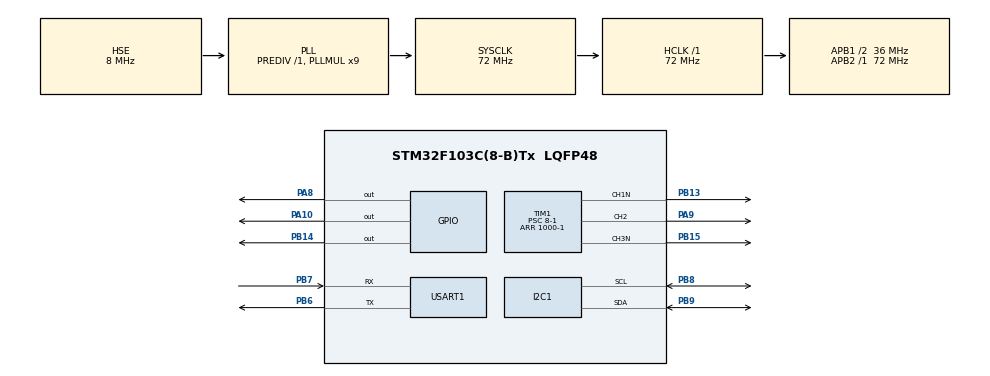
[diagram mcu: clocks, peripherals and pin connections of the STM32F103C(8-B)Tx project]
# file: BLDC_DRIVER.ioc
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Mcu.Family=STM32F1
Mcu.Name=STM32F103C(8-B)Tx
Mcu.Package=LQFP48
NVIC.PriorityGroup=NVIC_PRIORITYGROUP_4
NVIC.TIM2_IRQn=true\:0\:0\:false\:false\:true\:true\:true\:true
NVIC.USART1_IRQn=true\:1\:0\:true\:false\:true\:true\:true\:true
PA0-WKUP.Mode=SYS_WakeUp0
PA0-WKUP.Signal=SYS_WKUP
PA10.Signal=GPIO_Output
PA13.Mode=Serial_Wire
PA13.Signal=SYS_JTMS-SWDIO
PA14.Mode=Serial_Wire
PA14.Signal=SYS_JTCK-SWCLK
PA8.Signal=GPIO_Output
PA9.Signal=S_TIM1_CH2
PB13.Mode=PWM Generation1 CH1N
PB13.Signal=TIM1_CH1N
PB14.Signal=GPIO_Output
PB15.Mode=PWM Generation3 CH3N
PB15.Signal=TIM1_CH3N
PB6.Mode=Asynchronous
PB6.Signal=USART1_TX
PB7.Mode=Asynchronous
PB7.Signal=USART1_RX
PB8.Mode=I2C
PB8.Signal=I2C1_SCL
PB9.Mode=I2C
PB9.Signal=I2C1_SDA
PD0-OSC_IN.Mode=HSE-External-Oscillator
PD0-OSC_IN.Signal=RCC_OSC_IN
PD1-OSC_OUT.Mode=HSE-External-Oscillator
PD1-OSC_OUT.Signal=RCC_OSC_OUT
ProjectManager.HeapSize=0x200
ProjectManager.StackSize=0x400
ProjectManager.TargetToolchain=STM32CubeIDE
RCC.AHBFreq_Value=72000000
RCC.APB1CLKDivider=RCC_HCLK_DIV2
RCC.APB1Freq_Value=36000000
RCC.APB1TimFreq_Value=72000000
RCC.APB2Freq_Value=72000000
RCC.APB2TimFreq_Value=72000000
RCC.HCLKFreq_Value=72000000
RCC.PLLMUL=RCC_PLL_MUL9
RCC.PLLSourceVirtual=RCC_PLLSOURCE_HSE
RCC.SYSCLKFreq_VALUE=72000000
RCC.SYSCLKSource=RCC_SYSCLKSOURCE_PLLCLK
RCC.USBFreq_Value=72000000
SH.S_TIM1_CH2.0=TIM1_CH2,PWM Generation2 CH2
TIM1.Channel-PWM\ Generation1\ CH1N=TIM_CHANNEL_1
TIM1.Channel-PWM\ Generation2\ CH2=TIM_CHANNEL_2
TIM1.Channel-PWM\ Generation3\ CH3N=TIM_CHANNEL_3
TIM1.Period=1000-1
TIM1.Prescaler=8-1
TIM1.Pulse-PWM\ Generation1\ CH1N=500
TIM1.Pulse-PWM\ Generation2\ CH2=400
TIM1.Pulse-PWM\ Generation3\ CH3N=250
TIM2.Period=1000-1
TIM2.Prescaler=8-1
USART1.VirtualMode=VM_ASYNC
VP_TIM2_VS_ClockSourceINT.Mode=Internal
board=custom

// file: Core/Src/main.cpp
/* USER CODE BEGIN Header */
/**
  ******************************************************************************
  * @file           : main.c
  * @brief          : Main program body
  ******************************************************************************
  * @attention
  *
  * Copyright (c) 2022 STMicroelectronics.
  * All rights reserved.
  *
  * This software is licensed under terms that can be found in the LICENSE file
  * in the root directory of this software component.
  * If no LICENSE file comes with this software, it is provided AS-IS.
  *
  ******************************************************************************
  */
/* USER CODE END Header */
#include "main.h"

/* USER CODE BEGIN Includes */
#include "string.h"
#include "stdio.h"
#include "magnetic_sensor.hpp"
#include "bldc_driver.hpp"
/* USER CODE END Includes */

/* USER CODE BEGIN PTD */

// default pwm parameters
#define _PWM_RESOLUTION 7 // 7bit
#define _PWM_RANGE 999//1000 - 1 = 999
float target;
int count = 0;
int times = 0;
uint8_t 	AS5600_ADDR = 0x36 << 1;
uint8_t		RAWANG_H	= 0x0C;
uint8_t 	RAWANG_L	= 0x0D;
uint8_t 	ANGLE_H		= 0x0E;
uint8_t 	ANGLE_L		= 0x0F;
uint8_t     STATUS		= 0x0B;
uint8_t flag = 1;
uint8_t buf[12];
uint8_t recv;
uint8_t DataRead[2];
/* USER CODE END PTD */

I2C_HandleTypeDef hi2c1;

TIM_HandleTypeDef htim1;
TIM_HandleTypeDef htim2;

UART_HandleTypeDef huart1;

/* USER CODE BEGIN PV */
static const uint8_t SLAVE_ADDR = 0x36 << 1;
static const uint8_t DATA1_ADDR = 0x0E;
static const uint8_t DATA2_ADDR = 0x0F;
/* USER CODE END PV */

void SystemClock_Config(void);
static void MX_GPIO_Init(void);
static void MX_I2C1_Init(void);
static void MX_USART1_UART_Init(void);
static void MX_TIM1_Init(void);
static void MX_TIM2_Init(void);

/* USER CODE BEGIN 0 */

AS5600 as5600(hi2c1, huart1);
void HAL_TIM_PeriodElapsedCallback(TIM_HandleTypeDef *htim)
{
  if(htim->Instance == TIM2)
  {
	  //6 STEP: Discrete Mode:
//	  if(count == 6) count = 0;
//	  static int trap_120_map[6][3] = {
//		{0,1,-1},{-1,1,0},{-1,0,1},{0,-1,1},{1,-1,0},{1,0,-1} // each is 60 degrees with values for 3 phases of 1=positive -1=negative 0=high-z
//	  };
//	  float Ua, Ub, Uc;
//	  Ua = 0.5 + trap_120_map[count][0] * 0.5;
//	  Ub = 0.5 + trap_120_map[count][1] * 0.5;
//	  Uc = 0.5 + trap_120_map[count][2] * 0.5;
//	  _writeDutyCyclePWM(Ua, Ub, Uc);
//	  count++;

	  // SINE PWM:

//	  if ((recv = HAL_I2C_Mem_Read(&hi2c1,(AS5600_ADDR),RAWANG_H,1,&DataRead[0],1,100)) == HAL_OK)
//	  {
//		  if ((recv = HAL_I2C_Mem_Read(&hi2c1,(AS5600_ADDR),RAWANG_L,1,&DataRead[1],1,100)) == HAL_OK){
//			  int Data = (DataRead[1]|(DataRead[0] << 8));
//			  if(Data - 1900 > 0){
//				  if(times<192*100 && flag == 1){
//					  float _ca, _sa, Ualpha, Ubeta;
//					  float Ua, Ub, Uc;
//					  if(count == 24) count = 0;
//
//					  float angle_el = _PI_96*count;
//					  _ca = _cos(angle_el);
//					  _sa = _sin(angle_el);
//					  Ualpha =  - _sa*0.5;
//					  Ubeta  =    _ca*0.5;
//
//					  Ua = Ualpha/2 + 0.5;
//					  Ub = (-0.5 * Ualpha  + _SQRT3_2 * Ubeta)/2+0.5;
//					  Uc = (-0.5 * Ualpha - _SQRT3_2 * Ubeta)/2+0.5;
//					  _writeDutyCyclePWM(Ua, Ub, Uc);
//					  count++;
//					  times++;
//				  }
//			  }
//		  }
//	  }

//	  uint8_t buf[12];
//	  uint8_t DataRead = 0;
//	  HAL_I2C_Mem_Read(&hi2c1,(AS5600_ADDR),STATUS,1,&DataRead,1,100);
//	  sprintf((char*)buf,"%x\r\n",(DataRead & 0x38));
//	  if (DataRead == 0x20)
//	  {
//		  strcpy((char*)buf, "Magnet!\r\n");
//		  HAL_UART_Transmit(&huart1, buf, strlen((char*)buf), HAL_MAX_DELAY);
//		  HAL_Delay(100);
//	  }
//	  else{
//		  strcpy((char*)buf, "NO Magnet!\r\n");
//		  HAL_UART_Transmit(&huart1, buf, 2, HAL_MAX_DELAY);
//		  HAL_Delay(100);
//	  }

//	  as5600.GetStatus();
//	  as5600.GetAngle();
//	  HAL_Delay(100);
//	  float _ca, _sa, Ualpha, Ubeta;
//	  float Ua, Ub, Uc;
//	  if(count == 720) count = 0;
//
//	  float angle_el = _PI_360*count;
//	  _ca = _cos(angle_el);
//	  _sa = _sin(angle_el);
//	  Ualpha =  - _sa*0.5;
//	  Ubeta  =    _ca*0.5;
//
//	  Ua = Ualpha/2 + 0.5;
//	  Ub = (-0.5 * Ualpha  + _SQRT3_2 * Ubeta)/2+0.5;
//	  Uc = (-0.5 * Ualpha - _SQRT3_2 * Ubeta)/2+0.5;
//	  _writeDutyCyclePWM(Ua, Ub, Uc);
//	  count++;
  }
}

void _writeDutyCyclePWM(float dc_a, float dc_b, float dc_c)
{
	 TIM1->CCR1 = (int)(dc_a * _PWM_RANGE);
	 TIM1->CCR3 = (int)(dc_b * _PWM_RANGE);
	 TIM1->CCR2 = (int)(dc_c * _PWM_RANGE);
}
/* USER CODE END 0 */

int main(void)
{

  /* MCU Configuration--------------------------------------------------------*/

  /* Reset of all peripherals, Initializes the Flash interface and the Systick. */
  HAL_Init();

  /* USER CODE BEGIN Init */
  AS5600 as5600(hi2c1, huart1);
  Motor_FOC motor(12);
  /* USER CODE END Init */

  /* Configure the system clock */
  SystemClock_Config();

  /* Initialize all configured peripherals */
  MX_GPIO_Init();
  MX_I2C1_Init();
  MX_USART1_UART_Init();
  MX_TIM1_Init();
  MX_TIM2_Init();
  /* USER CODE BEGIN 2 */
//  HAL_TIM_Base_Start_IT(&htim2);

//  HAL_TIMEx_PWMN_Start(&htim1, TIM_CHANNEL_1);
//  HAL_TIM_PWM_Start(&htim1, 	TIM_CHANNEL_2);
//  HAL_TIMEx_PWMN_Start(&htim1, TIM_CHANNEL_3);

  HAL_GPIO_WritePin(GPIOB, GPIO_PIN_14, GPIO_PIN_SET);
  HAL_GPIO_WritePin(GPIOA, GPIO_PIN_8, GPIO_PIN_SET);
  HAL_GPIO_WritePin(GPIOA, GPIO_PIN_10, GPIO_PIN_SET);
  /* USER CODE END 2 */

  /* Infinite loop */
  /* USER CODE BEGIN WHILE */
  while (1)
  {

	  as5600.GetStatus();
	  as5600.GetAngle();
	  HAL_Delay(100);

//	  motor.move(target);

//	  motor.loopFOC();
//	  int Data = DataRead;
//	strcpy((char*)buf, "Magnet!\r\n");
//	HAL_UART_Transmit(&huart1, buf, strlen((char*)buf), HAL_MAX_DELAY);
//	HAL_Delay(100);
    /* USER CODE END WHILE */

  }
}

void SystemClock_Config(void)
{
  RCC_OscInitTypeDef RCC_OscInitStruct = {0};
  RCC_ClkInitTypeDef RCC_ClkInitStruct = {0};

  /** Initializes the RCC Oscillators according to the specified parameters
  * in the RCC_OscInitTypeDef structure.
  */
  RCC_OscInitStruct.OscillatorType = RCC_OSCILLATORTYPE_HSE;
  RCC_OscInitStruct.HSEState = RCC_HSE_ON;
  RCC_OscInitStruct.HSEPredivValue = RCC_HSE_PREDIV_DIV1;
  RCC_OscInitStruct.HSIState = RCC_HSI_ON;
  RCC_OscInitStruct.PLL.PLLState = RCC_PLL_ON;
  RCC_OscInitStruct.PLL.PLLSource = RCC_PLLSOURCE_HSE;
  RCC_OscInitStruct.PLL.PLLMUL = RCC_PLL_MUL9;
  if (HAL_RCC_OscConfig(&RCC_OscInitStruct) != HAL_OK)
  {
    Error_Handler();
  }

  /** Initializes the CPU, AHB and APB buses clocks
  */
  RCC_ClkInitStruct.ClockType = RCC_CLOCKTYPE_HCLK|RCC_CLOCKTYPE_SYSCLK
                              |RCC_CLOCKTYPE_PCLK1|RCC_CLOCKTYPE_PCLK2;
  RCC_ClkInitStruct.SYSCLKSource = RCC_SYSCLKSOURCE_PLLCLK;
  RCC_ClkInitStruct.AHBCLKDivider = RCC_SYSCLK_DIV1;
  RCC_ClkInitStruct.APB1CLKDivider = RCC_HCLK_DIV2;
  RCC_ClkInitStruct.APB2CLKDivider = RCC_HCLK_DIV1;

  if (HAL_RCC_ClockConfig(&RCC_ClkInitStruct, FLASH_LATENCY_2) != HAL_OK)
  {
    Error_Handler();
  }
}

static void MX_I2C1_Init(void)
{

  hi2c1.Instance = I2C1;
  hi2c1.Init.ClockSpeed = 100000;
  hi2c1.Init.DutyCycle = I2C_DUTYCYCLE_2;
  hi2c1.Init.OwnAddress1 = 0;
  hi2c1.Init.AddressingMode = I2C_ADDRESSINGMODE_7BIT;
  hi2c1.Init.DualAddressMode = I2C_DUALADDRESS_DISABLE;
  hi2c1.Init.OwnAddress2 = 0;
  hi2c1.Init.GeneralCallMode = I2C_GENERALCALL_DISABLE;
  hi2c1.Init.NoStretchMode = I2C_NOSTRETCH_DISABLE;
  if (HAL_I2C_Init(&hi2c1) != HAL_OK)
  {
    Error_Handler();
  }

}

static void MX_TIM1_Init(void)
{

  TIM_MasterConfigTypeDef sMasterConfig = {0};
  TIM_OC_InitTypeDef sConfigOC = {0};
  TIM_BreakDeadTimeConfigTypeDef sBreakDeadTimeConfig = {0};

  htim1.Instance = TIM1;
  htim1.Init.Prescaler = 8-1;
  htim1.Init.CounterMode = TIM_COUNTERMODE_UP;
  htim1.Init.Period = 1000-1;
  htim1.Init.ClockDivision = TIM_CLOCKDIVISION_DIV1;
  htim1.Init.RepetitionCounter = 0;
  htim1.Init.AutoReloadPreload = TIM_AUTORELOAD_PRELOAD_DISABLE;
  if (HAL_TIM_PWM_Init(&htim1) != HAL_OK)
  {
    Error_Handler();
  }
  sMasterConfig.MasterOutputTrigger = TIM_TRGO_RESET;
  sMasterConfig.MasterSlaveMode = TIM_MASTERSLAVEMODE_DISABLE;
  if (HAL_TIMEx_MasterConfigSynchronization(&htim1, &sMasterConfig) != HAL_OK)
  {
    Error_Handler();
  }
  sConfigOC.OCMode = TIM_OCMODE_PWM1;
  sConfigOC.Pulse = 500;
  sConfigOC.OCPolarity = TIM_OCPOLARITY_HIGH;
  sConfigOC.OCNPolarity = TIM_OCNPOLARITY_HIGH;
  sConfigOC.OCFastMode = TIM_OCFAST_DISABLE;
  sConfigOC.OCIdleState = TIM_OCIDLESTATE_RESET;
  sConfigOC.OCNIdleState = TIM_OCNIDLESTATE_RESET;
  if (HAL_TIM_PWM_ConfigChannel(&htim1, &sConfigOC, TIM_CHANNEL_1) != HAL_OK)
  {
    Error_Handler();
  }
  sConfigOC.Pulse = 400;
  if (HAL_TIM_PWM_ConfigChannel(&htim1, &sConfigOC, TIM_CHANNEL_2) != HAL_OK)
  {
    Error_Handler();
  }
  sConfigOC.Pulse = 250;
  if (HAL_TIM_PWM_ConfigChannel(&htim1, &sConfigOC, TIM_CHANNEL_3) != HAL_OK)
  {
    Error_Handler();
  }
  sBreakDeadTimeConfig.OffStateRunMode = TIM_OSSR_DISABLE;
  sBreakDeadTimeConfig.OffStateIDLEMode = TIM_OSSI_DISABLE;
  sBreakDeadTimeConfig.LockLevel = TIM_LOCKLEVEL_OFF;
  sBreakDeadTimeConfig.DeadTime = 0;
  sBreakDeadTimeConfig.BreakState = TIM_BREAK_DISABLE;
  sBreakDeadTimeConfig.BreakPolarity = TIM_BREAKPOLARITY_HIGH;
  sBreakDeadTimeConfig.AutomaticOutput = TIM_AUTOMATICOUTPUT_DISABLE;
  if (HAL_TIMEx_ConfigBreakDeadTime(&htim1, &sBreakDeadTimeConfig) != HAL_OK)
  {
    Error_Handler();
  }
  HAL_TIM_MspPostInit(&htim1);

}

static void MX_TIM2_Init(void)
{

  TIM_ClockConfigTypeDef sClockSourceConfig = {0};
  TIM_MasterConfigTypeDef sMasterConfig = {0};

  htim2.Instance = TIM2;
  htim2.Init.Prescaler = 240-1;
  htim2.Init.CounterMode = TIM_COUNTERMODE_UP;
  htim2.Init.Period = 1000-1;
  htim2.Init.ClockDivision = TIM_CLOCKDIVISION_DIV1;
  htim2.Init.AutoReloadPreload = TIM_AUTORELOAD_PRELOAD_DISABLE;
  if (HAL_TIM_Base_Init(&htim2) != HAL_OK)
  {
    Error_Handler();
  }
  sClockSourceConfig.ClockSource = TIM_CLOCKSOURCE_INTERNAL;
  if (HAL_TIM_ConfigClockSource(&htim2, &sClockSourceConfig) != HAL_OK)
  {
    Error_Handler();
  }
  sMasterConfig.MasterOutputTrigger = TIM_TRGO_RESET;
  sMasterConfig.MasterSlaveMode = TIM_MASTERSLAVEMODE_DISABLE;
  if (HAL_TIMEx_MasterConfigSynchronization(&htim2, &sMasterConfig) != HAL_OK)
  {
    Error_Handler();
  }

}

static void MX_USART1_UART_Init(void)
{

  huart1.Instance = USART1;
  huart1.Init.BaudRate = 115200;
  huart1.Init.WordLength = UART_WORDLENGTH_8B;
  huart1.Init.StopBits = UART_STOPBITS_1;
  huart1.Init.Parity = UART_PARITY_NONE;
  huart1.Init.Mode = UART_MODE_TX_RX;
  huart1.Init.HwFlowCtl = UART_HWCONTROL_NONE;
  huart1.Init.OverSampling = UART_OVERSAMPLING_16;
  if (HAL_UART_Init(&huart1) != HAL_OK)
  {
    Error_Handler();
  }

}

static void MX_GPIO_Init(void)
{
  GPIO_InitTypeDef GPIO_InitStruct = {0};

  /* GPIO Ports Clock Enable */
  __HAL_RCC_GPIOD_CLK_ENABLE();
  __HAL_RCC_GPIOB_CLK_ENABLE();
  __HAL_RCC_GPIOA_CLK_ENABLE();

  /*Configure GPIO pin Output Level */
  HAL_GPIO_WritePin(GPIOB, GPIO_PIN_14, GPIO_PIN_RESET);

  /*Configure GPIO pin Output Level */
  HAL_GPIO_WritePin(GPIOA, GPIO_PIN_8|GPIO_PIN_10, GPIO_PIN_RESET);

  /*Configure GPIO pin : PB14 */
  GPIO_InitStruct.Pin = GPIO_PIN_14;
  GPIO_InitStruct.Mode = GPIO_MODE_OUTPUT_PP;
  GPIO_InitStruct.Pull = GPIO_NOPULL;
  GPIO_InitStruct.Speed = GPIO_SPEED_FREQ_LOW;
  HAL_GPIO_Init(GPIOB, &GPIO_InitStruct);

  /*Configure GPIO pins : PA8 PA10 */
  GPIO_InitStruct.Pin = GPIO_PIN_8|GPIO_PIN_10;
  GPIO_InitStruct.Mode = GPIO_MODE_OUTPUT_PP;
  GPIO_InitStruct.Pull = GPIO_NOPULL;
  GPIO_InitStruct.Speed = GPIO_SPEED_FREQ_LOW;
  HAL_GPIO_Init(GPIOA, &GPIO_InitStruct);

}

void Error_Handler(void)
{
  __disable_irq();
  while (1)
  {
  }
}
